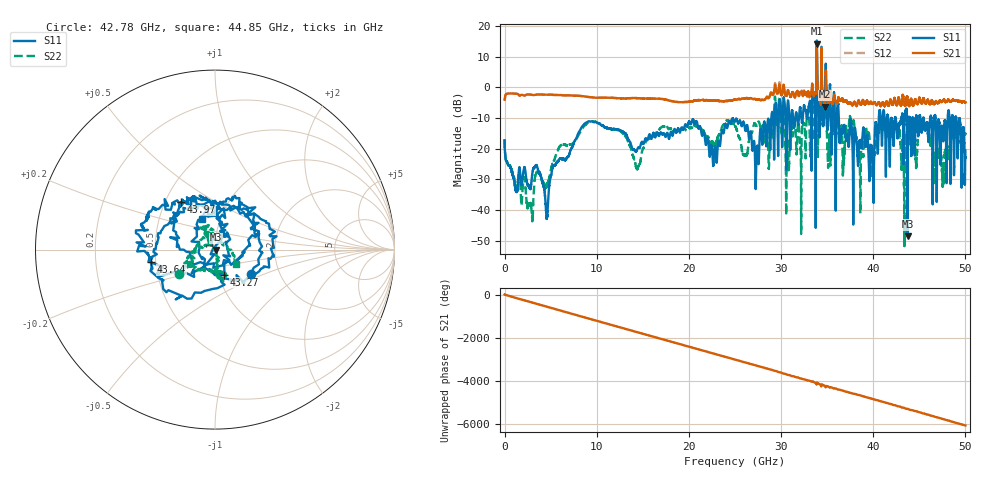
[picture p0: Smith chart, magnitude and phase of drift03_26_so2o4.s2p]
!Created with skrf (http://scikit-rf.org).
# Hz S RI R 50.0
!freq ReS11 ImS11 ReS21 ImS21 ReS12 ImS12 ReS22 ImS22
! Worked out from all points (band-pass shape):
!   10001 points, 300 kHz to 50 GHz, reference 50 ohm
!   highest |S21| = 14.28 dB at 33.88 GHz (marker M1); lowest = -6.3 dB at 34.79 GHz (marker M2)
!   |S21| within 3 dB of the highest: 33.86944 GHz to 33.8886 GHz (19.16 MHz wide, 0.0566 % of centre); 34.37697 GHz to 34.38971 GHz (12.74 MHz wide, 0.0371 % of centre)
!   lowest |S11| = -48.6 dB at 43.74 GHz (marker M3), VSWR 1.01, Z = 50.4 - j0.0034 ohm
!   |S11| at or under -10 dB: start of sweep to 28.94 GHz; 36.26 GHz to 40.61 GHz (4.343 GHz wide, 11.3 % of centre); 46.75 GHz to 48.08 GHz (1.33 GHz wide, 2.8 % of centre) (the widest 3 of 56)
!   |S22| runs from -51.7 to 10.8 dB; largest |S21 - S12| = 0.82
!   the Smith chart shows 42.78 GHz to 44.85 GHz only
!   S11 on the Smith chart (normalised r, x): 42.78 GHz: 1.42, -0.41; 43.27 GHz: 1.07, -0.30; 43.64 GHz: 0.47, -0.07; 43.97 GHz: 0.60, +0.35; 44.85 GHz: 0.82, +0.29
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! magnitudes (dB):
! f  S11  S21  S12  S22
! 300 kHz  -17.3  -4.0  -4.1  -17.0
! 2.825 GHz  -32.7  -2.4  -2.4  -38.4
! 4.565 GHz  -41.9  -2.3  -2.3  -32.2
! 8.335 GHz  -13.1  -2.8  -2.8  -13.9
! 14.44 GHz  -19.9  -3.5  -3.5  -26.4
! 16.67 GHz  -15.4  -3.7  -3.7  -14.3
! 25 GHz  -11.0  -4.0  -4.0  -12.6
! 27.39 GHz  -19.3  -4.1  -4.1  -12.4
! 29.6 GHz  -10.4  -2.0  -2.1  -11.7
! 30.7 GHz  -5.8  -1.5  -1.5  -17.4
! 33.34 GHz  -13.9  -0.4  -0.5  -7.1
! 33.88 GHz  15.3  14.3  13.9  10.8
! 34.79 GHz  -3.1  -6.3  -5.0  -8.7
! 39.81 GHz  -19.2  -5.0  -4.8  -23.9
! 41.67 GHz  -12.1  -6.0  -6.0  -15.4
! 42.78 GHz  -12.4  -3.5  -3.4  -12.3
! 43.27 GHz  -16.5  -3.3  -3.3  -18.3
! 43.64 GHz  -8.8  -3.1  -3.4  -15.4
! 43.74 GHz  -48.6  -4.1  -4.1  -17.6
! 43.97 GHz  -9.7  -5.6  -5.8  -15.6
! 44.85 GHz  -14.6  -5.3  -5.3  -16.9
! 50 GHz  -20.6  -4.9  -4.9  -15.2
